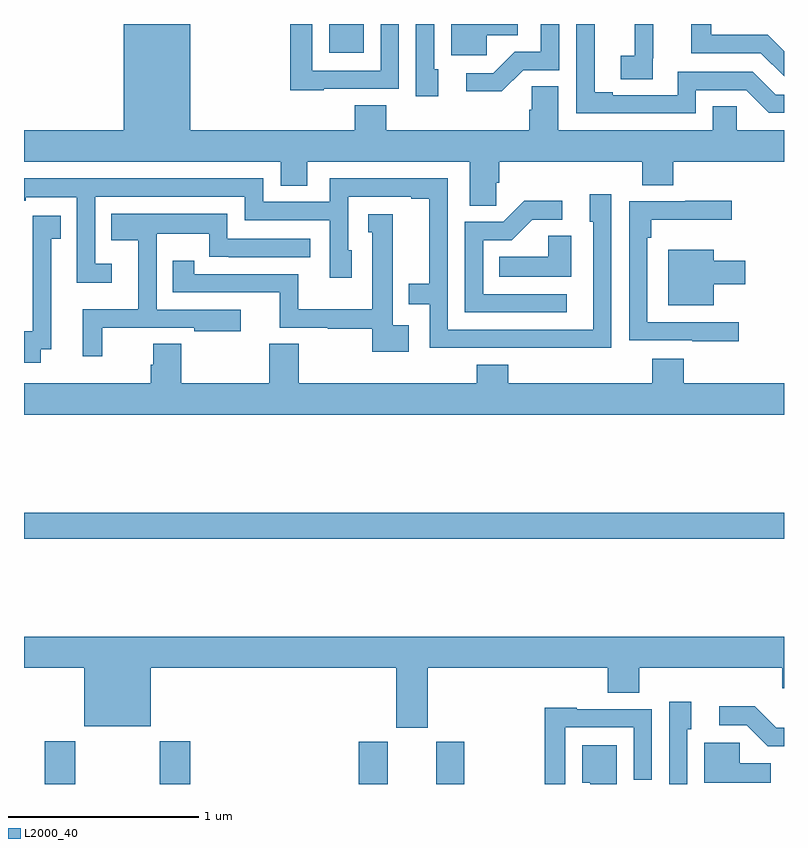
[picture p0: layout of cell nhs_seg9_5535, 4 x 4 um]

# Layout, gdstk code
import gdstk
lib = gdstk.Library(unit=1e-6, precision=1e-09)
def R(c, l, rs):  # rectangles x0, y0, x1, y1
    for r in rs: c.add(gdstk.rectangle(r[:2], r[2:], *l))
def P(c, l, *ps):  # polygons
    for p in ps: c.add(gdstk.Polygon(p, *l))
L2000_40 = (2000, 40)

nhs_seg9_5535 = lib.new_cell('nhs_seg9_5535')
R(nhs_seg9_5535, L2000_40, [(433.109,1170.5,433.269,1170.724), (433.714,1170.5,433.874,1170.724), (434.762,1170.5,434.914,1170.723), (435.17,1170.5,435.318,1170.723), (433,1171.792,437,1171.928), (434.606,1174.349,434.788,1174.5)])
P(nhs_seg9_5535, L2000_40, [(436.31,1174.321),(436.312,1174.321),(436.312,1174.5),(436.214,1174.5),(436.214,1174.332),(436.14,1174.332),(436.14,1174.21),(436.31,1174.21)],
  [(435.485,1173.664),(435.5,1173.664),(435.5,1173.776),(436.253,1173.776),(436.253,1173.652),(436.418,1173.652),(436.418,1173.776),(437,1173.776),(437,1173.94),(436.752,1173.94),(436.752,1174.067),(436.625,1174.067),(436.625,1173.94),(435.811,1173.94),(435.811,1174.172),(435.672,1174.172),(435.672,1174.049),(435.659,1174.049),(435.659,1173.94),(434.906,1173.94),(434.906,1174.073),(434.741,1174.073),(434.741,1173.94),(433.876,1173.94),(433.876,1174.5),(433.526,1174.5),(433.526,1173.94),(433,1173.94),(433,1173.776),(434.351,1173.776),(434.351,1173.649),(434.491,1173.649),(434.491,1173.776),(435.347,1173.776),(435.347,1173.544),(435.485,1173.544)],
  [(437,1174.357),(436.914,1174.443),(436.618,1174.443),(436.618,1174.5),(436.511,1174.5),(436.511,1174.347),(436.878,1174.347),(437,1174.225)],
  [(434.577,1174.158),(434.973,1174.158),(434.973,1174.5),(434.877,1174.5),(434.877,1174.254),(434.517,1174.254),(434.517,1174.5),(434.401,1174.5),(434.401,1174.151),(434.577,1174.151)],
  [(436.536,1174.152),(436.8,1174.152),(436.92,1174.032),(437,1174.032),(437,1174.128),(436.956,1174.128),(436.836,1174.248),(436.44,1174.248),(436.44,1174.125),(436.099,1174.125),(436.099,1174.14),(436.003,1174.14),(436.003,1174.5),(435.906,1174.5),(435.906,1174.029),(436.536,1174.029)],
  [(435.181,1174.263),(435.159,1174.263),(435.159,1174.5),(435.063,1174.5),(435.063,1174.119),(435.181,1174.119)],
  [(435.435,1174.442),(435.598,1174.442),(435.598,1174.5),(435.248,1174.5),(435.248,1174.335),(435.435,1174.335)],
  [(435.627,1174.257),(435.816,1174.257),(435.816,1174.5),(435.72,1174.5),(435.72,1174.353),(435.582,1174.353),(435.471,1174.242),(435.327,1174.242),(435.327,1174.145),(435.514,1174.145)],
  [(436.092,1173.604),(435.977,1173.604),(435.977,1173.459),(435.996,1173.459),(435.996,1172.892),(435.231,1172.892),(435.231,1173.687),(434.61,1173.687),(434.61,1173.564),(434.259,1173.564),(434.259,1173.687),(433.271,1173.687),(433.271,1173.688),(433,1173.688),(433,1173.57),(433.009,1173.57),(433.009,1173.587),(433.278,1173.587),(433.278,1173.137),(433.462,1173.137),(433.462,1173.238),(433.374,1173.238),(433.374,1173.591),(434.163,1173.591),(434.163,1173.468),(434.61,1173.468),(434.61,1173.165),(434.725,1173.165),(434.725,1173.309),(434.706,1173.309),(434.706,1173.591),(435.038,1173.591),(435.038,1173.579),(435.134,1173.579),(435.134,1173.133),(435.026,1173.133),(435.026,1173.024),(435.135,1173.024),(435.135,1172.796),(435.631,1172.796),(435.631,1172.795),(436.092,1172.795)],
  [(436.762,1172.931),(436.281,1172.931),(436.281,1173.374),(436.301,1173.374),(436.301,1173.47),(436.726,1173.47),(436.726,1173.571),(436.481,1173.571),(436.481,1173.567),(436.185,1173.567),(436.185,1172.835),(436.517,1172.835),(436.517,1172.831),(436.762,1172.831)],
  [(435.856,1173.078),(435.417,1173.078),(435.417,1173.363),(435.567,1173.363),(435.675,1173.471),(435.832,1173.471),(435.832,1173.569),(435.632,1173.569),(435.522,1173.459),(435.321,1173.459),(435.321,1172.982),(435.856,1172.982)],
  [(433.412,1172.901),(433.895,1172.901),(433.895,1172.882),(434.14,1172.882),(434.14,1172.997),(433.698,1172.997),(433.698,1173.395),(433.974,1173.395),(433.974,1173.274),(434.077,1173.274),(434.077,1173.273),(434.506,1173.273),(434.506,1173.369),(434.07,1173.369),(434.07,1173.502),(433.459,1173.502),(433.459,1173.362),(433.601,1173.362),(433.601,1172.998),(433.31,1172.998),(433.31,1172.751),(433.412,1172.751)],
  [(435.025,1172.914),(434.94,1172.914),(434.94,1173.01),(434.941,1173.01),(434.941,1173.498),(434.813,1173.498),(434.813,1173.405),(434.834,1173.405),(434.834,1172.998),(434.443,1172.998),(434.443,1173.183),(433.896,1173.183),(433.896,1173.253),(433.783,1173.253),(433.783,1173.087),(434.345,1173.087),(434.345,1172.901),(434.598,1172.901),(434.598,1172.896),(434.832,1172.896),(434.832,1172.774),(435.025,1172.774)],
  [(433.087,1172.787),(433.144,1172.787),(433.144,1173.369),(433.193,1173.369),(433.193,1173.49),(433.046,1173.49),(433.046,1173.166),(433.047,1173.166),(433.047,1172.883),(433,1172.883),(433,1172.717),(433.087,1172.717)],
  [(435.88,1173.386),(435.758,1173.386),(435.758,1173.274),(435.502,1173.274),(435.502,1173.17),(435.88,1173.17)],
  [(436.63,1173.131),(436.795,1173.131),(436.795,1173.253),(436.63,1173.253),(436.63,1173.313),(436.391,1173.313),(436.391,1173.02),(436.63,1173.02)],
  [(437,1172.608),(436.472,1172.608),(436.472,1172.737),(436.307,1172.737),(436.307,1172.608),(435.548,1172.608),(435.548,1172.707),(435.383,1172.707),(435.383,1172.608),(434.445,1172.608),(434.445,1172.816),(434.29,1172.816),(434.29,1172.608),(433.827,1172.608),(433.827,1172.816),(433.679,1172.816),(433.679,1172.706),(433.667,1172.706),(433.667,1172.608),(433,1172.608),(433,1172.444),(437,1172.444)],
  [(435.124,1171.112),(436.073,1171.112),(436.073,1170.979),(436.238,1170.979),(436.238,1171.112),(436.991,1171.112),(436.991,1171.003),(437,1171.003),(437,1171.276),(433,1171.276),(433,1171.112),(433.316,1171.112),(433.316,1170.803),(433.666,1170.803),(433.666,1171.112),(434.96,1171.112),(434.96,1170.795),(435.124,1170.795)],
  [(436.491,1170.789),(436.513,1170.789),(436.513,1170.934),(436.395,1170.934),(436.395,1170.5),(436.491,1170.5)],
  [(437,1170.795),(436.959,1170.795),(436.846,1170.908),(436.659,1170.908),(436.659,1170.81),(436.803,1170.81),(436.914,1170.699),(437,1170.699)],
  [(435.849,1170.798),(436.209,1170.798),(436.209,1170.522),(436.305,1170.522),(436.305,1170.894),(435.909,1170.894),(435.909,1170.901),(435.741,1170.901),(435.741,1170.5),(435.849,1170.5)],
  [(436.93,1170.61),(436.767,1170.61),(436.767,1170.717),(436.58,1170.717),(436.58,1170.506),(436.93,1170.506)],
  [(436.12,1170.703),(435.938,1170.703),(435.938,1170.506),(435.98,1170.506),(435.98,1170.5),(436.12,1170.5)])

lib.write_gds('nhs_seg9_5535.gds')
